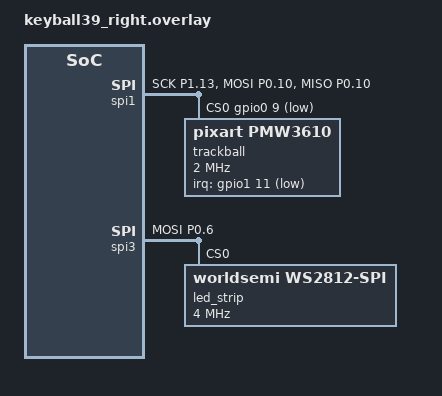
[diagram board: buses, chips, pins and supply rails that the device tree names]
/*
 * Copyright (c) 2020 ZMK Contributors
 *
 * SPDX-License-Identifier: MIT
 */
 
#include "keyball39.dtsi"
#include <dt-bindings/zmk/rgb.h>
#include <dt-bindings/led/led.h>

&default_transform {
    col-offset = <6>;
};

&kscan0 {
	col-gpios
		= <&pro_micro 4 GPIO_ACTIVE_HIGH>
		, <&pro_micro 5 GPIO_ACTIVE_HIGH>
		, <&pro_micro 6 GPIO_ACTIVE_HIGH>
		, <&pro_micro 7 GPIO_ACTIVE_HIGH>
		, <&pro_micro 8 GPIO_ACTIVE_HIGH>
        , <&pro_micro 9 GPIO_ACTIVE_HIGH>
		;
};

&pinctrl {
    spi1_default: spi1_default {
        group1 {
            psels = <NRF_PSEL(SPIM_SCK, 1, 13)>,
                <NRF_PSEL(SPIM_MOSI, 0, 10)>,
                <NRF_PSEL(SPIM_MISO, 0, 10)>;
        };
    };

    spi1_sleep: spi1_sleep {
        group1 {
            psels = <NRF_PSEL(SPIM_SCK, 1, 13)>,
                <NRF_PSEL(SPIM_MOSI, 0, 10)>,
                <NRF_PSEL(SPIM_MISO, 0, 10)>;
            low-power-enable;
        };
    };
};

&spi1 {
    status = "okay";
    compatible = "nordic,nrf-spim";
    pinctrl-0 = <&spi1_default>;
    pinctrl-1 = <&spi1_sleep>;
    pinctrl-names = "default", "sleep";
    cs-gpios = <&gpio0 9 GPIO_ACTIVE_LOW>;

    trackball: trackball@0 {
        status = "okay";
        compatible = "pixart,pmw3610";
        reg = <0>;
        spi-max-frequency = <2000000>;
        irq-gpios = <&gpio1 11 (GPIO_ACTIVE_LOW | GPIO_PULL_UP)>;
        automouse-layer = <4>;
	scroll-layers = <5>;
	snipe-layers = <6>;
    };
};







&pinctrl {
    spi3_default: spi3_default {
        group1 {
            psels = <NRF_PSEL(SPIM_MOSI, 0, 6)>;
        };
    };

    spi3_sleep: spi3_sleep {
        group1 {
            psels = <NRF_PSEL(SPIM_MOSI, 0, 6)>;
            low-power-enable;
        };
    };
};

&spi3 {
    compatible = "nordic,nrf-spim";
    status = "okay";

    pinctrl-0 = <&spi3_default>;
    pinctrl-1 = <&spi3_sleep>;
    pinctrl-names = "default", "sleep";

    led_strip: ws2812@0 {
        compatible = "worldsemi,ws2812-spi";

        /* SPI */
        reg = <0>; /* ignored, but necessary for SPI bindings */
        spi-max-frequency = <4000000>;

        /* WS2812 */
        chain-length = <22>; /* arbitrary; change at will */
        spi-one-frame = <0x70>;
        spi-zero-frame = <0x40>;
        color-mapping = <LED_COLOR_ID_GREEN LED_COLOR_ID_RED LED_COLOR_ID_BLUE>;
    };
};


/ {
  trackball_listener {
    compatible = "zmk,input-listener";
    device = <&trackball>;

  };
    chosen {
        zmk,underglow = &led_strip;
    };
};


